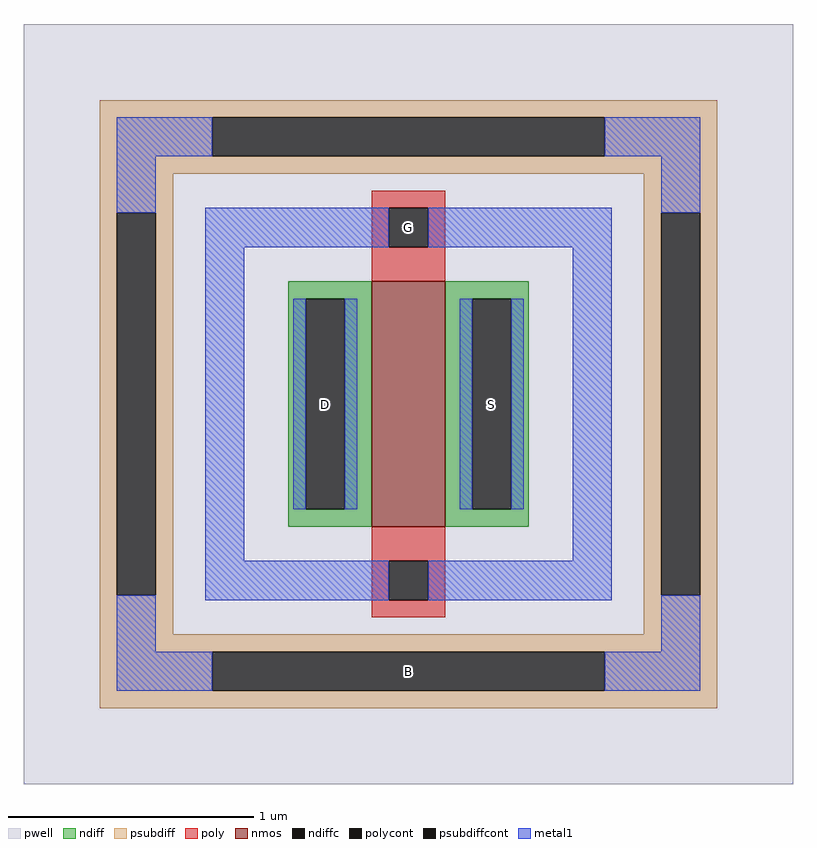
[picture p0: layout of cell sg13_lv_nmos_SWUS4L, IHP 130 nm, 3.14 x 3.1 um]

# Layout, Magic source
magic
tech ihp-sg13cmos5l
<< pwell >>
rect -157 -155 157 155
<< nmos >>
rect -15 -50 15 50
<< ndiff >>
rect -49 43 -15 50
rect -49 -43 -42 43
rect -26 -43 -15 43
rect -49 -50 -15 -43
rect 15 43 49 50
rect 15 -43 26 43
rect 42 -43 49 43
rect 15 -50 49 -43
<< ndiffc >>
rect -42 -43 -26 43
rect 26 -43 42 43
<< psubdiff >>
rect -126 117 126 124
rect -126 101 -80 117
rect 80 101 126 117
rect -126 94 126 101
rect -126 78 -96 94
rect -126 -78 -119 78
rect -103 -78 -96 78
rect 96 78 126 94
rect -126 -94 -96 -78
rect 96 -78 103 78
rect 119 -78 126 78
rect 96 -94 126 -78
rect -126 -101 126 -94
rect -126 -117 -80 -101
rect 80 -117 126 -101
rect -126 -124 126 -117
<< psubdiffcont >>
rect -80 101 80 117
rect -119 -78 -103 78
rect 103 -78 119 78
rect -80 -117 80 -101
<< poly >>
rect -15 80 15 87
rect -15 64 -8 80
rect 8 64 15 80
rect -15 50 15 64
rect -15 -64 15 -50
rect -15 -80 -8 -64
rect 8 -80 15 -64
rect -15 -87 15 -80
<< polycont >>
rect -8 64 8 80
rect -8 -80 8 -64
<< metal1 >>
rect -119 101 -80 117
rect 80 101 119 117
rect -119 78 -103 101
rect -119 -101 -103 -78
rect -83 64 -8 80
rect 8 64 83 80
rect -83 -64 -67 64
rect -47 -43 -42 43
rect -26 -43 -21 43
rect 21 -43 26 43
rect 42 -43 47 43
rect 67 -64 83 64
rect -83 -80 -8 -64
rect 8 -80 83 -64
rect 103 78 119 101
rect 103 -101 119 -78
rect -119 -117 -80 -101
rect 80 -117 119 -101
<< labels >>
rlabel psubdiffcont 0 -109 0 -109 0 B
port 1 nsew
rlabel ndiffc -34 0 -34 0 0 D
port 2 nsew
rlabel ndiffc 34 0 34 0 0 S
port 3 nsew
rlabel polycont 0 72 0 72 0 G
port 4 nsew
<< properties >>
string FIXED_BBOX -111 -109 111 109
string gencell sg13_lv_nmos
string library sg13cmos5l
string parameters w 1.0 l 0.3 m 1 ng 1 diffcov 100 polycov 100 guard 1 glc 1 grc 1 gtc 1 gbc 1 tbcov 100 rlcov 100 topc 1 botc 1 poverlap 0 doverlap 1 lmin 0.13 wmin 0.15 class mosfet compatible {sg13_lv_nmos sg13_hv_nmos} full_metal 1 conn_gates 1 gate_ring 1 doports 1 viasrc 0 viadrn 0 viagate 0 ccols 1 viagb 0 viagr 0 viagl 0 viagt 0
<< end >>
